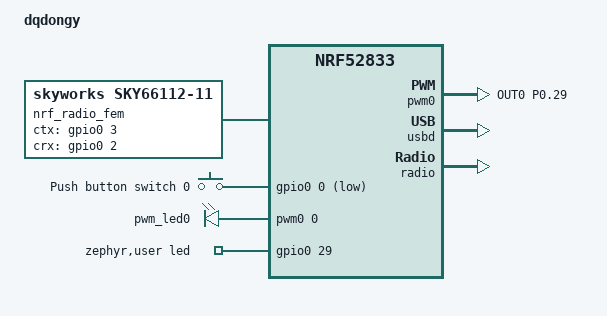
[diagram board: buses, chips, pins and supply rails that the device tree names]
// Copyright (c) 2024 Nordic Semiconductor ASA
// SPDX-License-Identifier: Apache-2.0

/dts-v1/;
#include <nordic/nrf52833_qiaa.dtsi>

//move to dtsi?
&pinctrl {
	pwm0_default: pwm0_default {
		group1 {
			psels = <NRF_PSEL(PWM_OUT0, 0, 29)>;
			nordic,drive-mode = <NRF_DRIVE_D0S1>;
		};
	};

	pwm0_sleep: pwm0_sleep {
		group1 {
			psels = <NRF_PSEL(PWM_OUT0, 0, 29)>;
			low-power-enable;
		};
	};
};
//end

/ {
	model = "dqdongy";
	compatible = "dqdongy";

	nrf_radio_fem: skyFem {
        compatible = "skyworks,sky66112-11", "generic-fem-two-ctrl-pins";
        ctx-gpios = <&gpio0 3 GPIO_ACTIVE_HIGH>;
        ctx-settle-time-us = <1>;
        crx-gpios = <&gpio0 2 GPIO_ACTIVE_HIGH>;
        crx-settle-time-us = <1>;
        tx-gain-db = <22>;
		rx-gain-db = <12>;
    };

	aliases {
		sw0 = &button0;
		pwm-led0 = &pwm_led0;
	};

	buttons {
		compatible = "gpio-keys";
		button0: button_0 {
			gpios = <&gpio0 0 (GPIO_PULL_UP | GPIO_ACTIVE_LOW)>;
			label = "Push button switch 0";
		};
	};

	chosen {
		zephyr,sram = &sram0;
		zephyr,flash = &flash0;
		zephyr,console = &cdc_acm_uart0;
		zephyr,shell-uart = &cdc_acm_uart0;
	};


	pwmleds {
		compatible = "pwm-leds";
		pwm_led0: pwm_led_0 {
			pwms = <&pwm0 0 PWM_MSEC(1) PWM_POLARITY_NORMAL>;
		};
	};

	zephyr,user {
		led-gpios = <&gpio0 29 GPIO_OPEN_SOURCE>;
	};
};

&gpiote {
	status = "okay";
};

&gpio0 {
	status = "okay";
};

&gpio1 {
	status = "okay";
};

&pwm0 {
	status = "okay";
	pinctrl-0 = <&pwm0_default>;
	pinctrl-1 = <&pwm0_sleep>;
	pinctrl-names = "default", "sleep";
};

zephyr_udc0: &usbd {
	compatible = "nordic,nrf-usbd";
	status = "okay";
	cdc_acm_uart0: cdc_acm_uart0 {
		compatible = "zephyr,cdc-acm-uart";
	};
};

&nfct {
	status = "disabled";
};

&radio {
	fem = <&nrf_radio_fem>;
};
